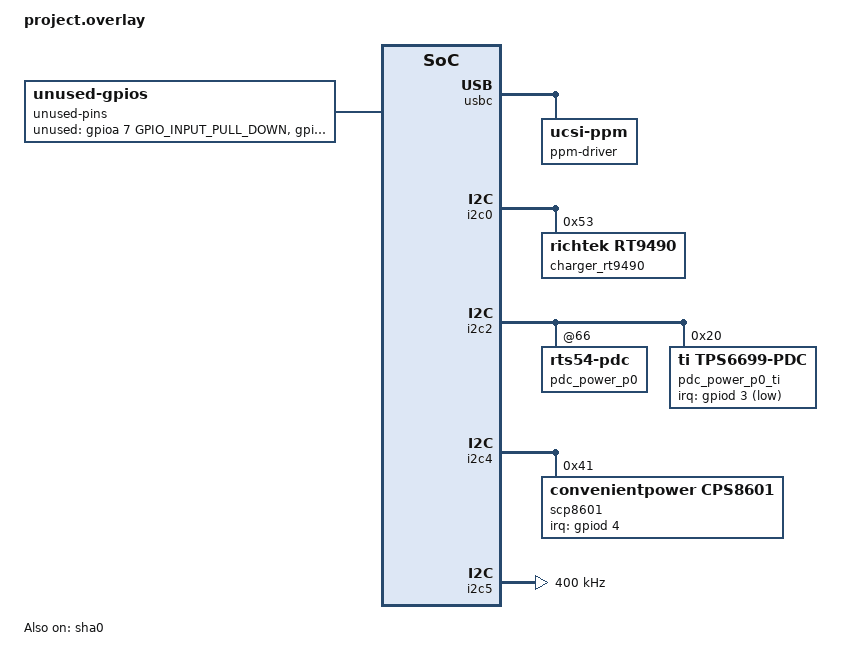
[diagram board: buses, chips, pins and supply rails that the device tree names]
/* Copyright 2025 The ChromiumOS Authors
 * Use of this source code is governed by a BSD-style license that can be
 * found in the LICENSE file.
 */

#include <cros/cbi_flash.dtsi>
#include "../ite_generated.dtsi"
#include "../interrupts.dtsi"
#include "../ite_common.dtsi"
#include "../ite_keyboard.dtsi"
#include "../ite_overlay.dtsi"
#include "../ite_usbc.dtsi"
#include "../power_signal.dtsi"
#include "cbi.dtsi"
#include "led_pins.dtsi"
#include "led_policy.dtsi"
#include "motionsense.dtsi"
#include "temp_sensor.dtsi"
#include "thermistor.dtsi"
#include "uart.dtsi"

/ {
	aliases {
		gpio-kbd-kso2 = &gpio_ec_kso_02_inv;
	};
	named-adc-channels {
		/delete-node/ charger_pmon_q;
		/delete-node/ temp_sensor1;
		/delete-node/ charger_amon_q;

		adc_type_c: charger_type_c {
			enum-name = "ADC_TEMP_SENSOR_2";
			io-channels = <&adc0 3>;
		};
		adc_charger: adc_charger {
			enum-name = "ADC_TEMP_SENSOR_1";
			io-channels = <&adc0 4>;
		};
		adc_usbc_sub_detect: usbc_sub_detect {
			enum-name = "ADC_EVB_CH_2";
			io-channels = <&adc0 0>;
		};
		adc-base-det {
			enum-name = "ADC_BASE_DET";
			io-channels = <&adc0 5>;
		};
	};

	batteries {
		default_battery: cosmx_cm32054 {
			compatible = "cosmx,cm32054", "battery-smart";
		};
		celxpert_b300049 {
			compatible = "celxpert,b300049","battery-smart";
		};
	};

	gpio-interrupts {
		/delete-node/ lid-accel;
		int_imu: ec-imu {
			irq-pin = <&gpio_imu_int_ec_l>;
			flags = <GPIO_INT_EDGE_FALLING>;
			handler = "motion_interrupt";
		};
		pogo_prsnt_int: pogo-prsnt-int {
			irq-pin = <&pogo_prsnt_int_l>;
			flags = <GPIO_INT_EDGE_BOTH>;
			handler = "base_detect_interrupt";
		};
		wpc_irq: wpc_irq{
			irq-pin = <&gpio_wpc_irq>;
			flags = <GPIO_INT_EDGE_FALLING>;
			handler = "pchg_irq";
		};
		wpc_lid_irq: wpc_lid_irq{
			irq-pin = <&gpio_pen_eject_od_l>;
			flags = <GPIO_INT_EDGE_BOTH>;
			handler = "wpc_hall_interrupt";
		};
	};

	named-gpios {
		/delete-node/ ec_i2c_pdc0_s_int_odl;
		/delete-node/ ec_i2c_pdc1_s_int_odl;
		/delete-node/ usb_c0_dp_hpd;
		/delete-node/ usb_c1_dp_hpd;
		/delete-node/ en_usb_c0_dev_mode;
		/delete-node/ en_pp5000_z1;
		/delete-node/ lid_accel_int_ec_l;
		/delete-node/ dp_aux_path_sel;
		/delete-node/ en_pp5000_usba_vbus;
		/delete-node/ ec_pen_chg_dis_odl;

		// POGO_PRSNT_INT_L  GPI5
		pogo_prsnt_int_l: pogo_prsnt_int_l{
			gpios = <&gpioi 5 (GPIO_INPUT| GPIO_ACTIVE_LOW)>;
		};

		// gpio_ap_ec_revd0 changed to ec_ap_hid_int_odl
		ec_ap_hid_int_odl: ec-ap-hid-int-odl {
			gpios = <&gpioi 6 (GPIO_ODR_HIGH | GPIO_VOLTAGE_1P8 |
					   GPIO_ACTIVE_LOW)>;
		};

		gpio_ap_ec_revd1: gpio_ap_ec_revd1{
			gpios = <&gpioi 7 GPIO_INPUT>;
		};

		gpio_ec_en_ppvar_blpwr: ec_en_ppvar_blpwr {
			gpios = <&gpioi 1 (GPIO_OUTPUT | GPIO_OUTPUT_INIT_LOW)>;
		};

		gpio_bl_pwr_pgd: gpio_bl_pwr_pgd {
			gpios = <&gpioh 3 GPIO_INPUT>;
		};

		gpio_5p0va_pwr_mode: 5p0va_pwr_mode {
			gpios = <&gpiod 5 (GPIO_OUTPUT | GPIO_OUTPUT_INIT_LOW)>;
		};

		gpio_pen_eject: pen_eject {
			gpios = <&gpioh 2 GPIO_INPUT>;
		};

		// EN_PP3300_BASE_X  GPF4
		en_pp3300_base_x: en_pp3300_base_x{
			gpios = <&gpiof 4 GPIO_OUTPUT_LOW>;
		};

		//PEN_EJECT_OD_L GPD1
		gpio_pen_eject_od_l: gpio_pen_eject_od_l {
			gpios = <&gpiod 1 (GPIO_INPUT)>;
			enum-name = "GPIO_HALL_CTL_PCHG";
		};

		//CCD_MODE_L GPE5
		gpio_ccd_mode_odl: ccd_mode_odl {
			gpios = <&gpioe 5 (GPIO_INPUT)>;
		};

		en_cc_lid_base_pu: en-cc-lid-base-pu {
			gpios = <&gpioa 3 GPIO_INPUT>;
		};
		gpio_wpc_irq: gpio_wpc_irq{
			gpios = <&gpiod 4 (GPIO_INPUT | GPIO_VOLTAGE_1P8)>;
			enum-name = "GPIO_WPC_IRQ";
		};

		gpio_ec_pen_dis: ec_pen_dis {
			gpios = <&gpiof 5 (GPIO_OUTPUT_HIGH)>;
			enum-name = "GPIO_QI_RESET_L";
		};
	};

	unused-pins {
		compatible = "unused-gpios";
		unused-gpios =
			<&gpioa 7 GPIO_INPUT_PULL_DOWN>,
			<&gpiob 6 GPIO_INPUT_PULL_DOWN>,
			<&gpiod 7 GPIO_INPUT>,
			<&gpiof 2 GPIO_INPUT_PULL_DOWN>,
			<&gpiog 0 GPIO_INPUT_PULL_DOWN>,
			<&gpiog 1 GPIO_INPUT_PULL_DOWN>,
			<&gpioh 1 GPIO_INPUT_PULL_DOWN>,
			<&gpioi 2 GPIO_INPUT_PULL_DOWN>,
			<&gpioj 2 GPIO_INPUT_PULL_DOWN>;
	};

	usbc {
		#address-cells = <1>;
		#size-cells = <0>;

		/delete-node/ port1@1;
		/delete-node/ port1-muxes;
		usbc_port0: port0@0 {
			compatible = "named-usbc-port";
			reg = <0>;
			chg = <&charger_rt9490>;
			pdc = <&pdc_power_p0 &pdc_power_p0_ti>;
			zephyr,deferred-init;
			policy = <&cros_policy>;
		};

		ppm-driver {
			compatible = "ucsi-ppm";
		};
	};

	named-i2c-ports {
		i2c_ec_i2c_pdc_s_scl_3v3: ec_i2c_pdc_s_scl_3v3 {
			remote-port = < 0x5 >;
		};
		i2c_detachable_base: detachable-base {
			i2c-port = <&i2c5>;
			enum-names = "I2C_PORT_DETACHABLE_BASE";
		};
	};
	cros-keyscan {
		compatible = "cros-ec,keyscan";
		actual-key-mask = <
			0x08	/* C0 */
			0xff	/* C1 */
			0xff	/* C2 */
			0xff	/* C3 */
			0xff	/* C4 */
			0xff	/* C5 */
			0xff	/* C6 */
			0xa4	/* C7 */
			0xff	/* C8 */
			0xf7	/* C9 */
			0x55	/* C10 */
			0xff	/* C11 */
			0xff	/* C12 */
			0x40	/* C13 */
			0x0a	/* C14 */
			0x40	/* C15 */
			0xff	/* C16 */
			0xff	/* C17 */
		>;
	};
};

&adc0{
	pinctrl-0 = <&adc0_ch5_gpi5_default>;
};

&pwm2 {
	status = "disabled";
};

&pwm3 {
	prescaler-cx = <PWM_PRESCALER_C4>;
};

&pinctrl {
	i2c4_clk_gpe0_default: i2c4_clk_gpe0_default {
		gpio-voltage = "1v8";
	};
	i2c4_data_gpe7_default: i2c4_data_gpe7_default {
		gpio-voltage = "1v8";
	};
	i2c5_clk_gpe1_default: i2c5_clk_gpe1_default {
		gpio-voltage = "1v8";
	};
	i2c5_data_gpe2_default: i2c5_data_gpe2_default {
		gpio-voltage = "1v8";
	};
	uart2_rx_gpf0_default {
		pinmuxs = <&pinctrlf 0 IT8XXX2_ALT_FUNC_3>;
	};
	uart2_tx_gpf1_default {
		pinmuxs = <&pinctrlf 1 IT8XXX2_ALT_FUNC_3>;
	};
};

&i2c0 {
	/delete-node/ bq25720@9;
	charger_rt9490: rt9490@53{
		compatible = "richtek,rt9490";
		thermistor = <&thermistor_rt9490>;
		reg = <0x53>;
		eoc-current = <120>;
		/delete-property/ irq;
	};
	data-hold-time = <10>;
};

&i2c2 {
	/delete-node/ rts54-pdc@67;

	pdc_power_p0: rts54-pdc@66 {
		zephyr,deferred-init;
	};
	pdc_power_p0_ti: tps6699-pdc@20 {
		compatible = "ti,tps6699-pdc";
		reg = <0x20>;
		irq-gpios = <&gpiod 3 GPIO_ACTIVE_LOW>;
		port-index-on-chip = <0x1>;
		zephyr,deferred-init;
		frs-supported;
		ccd;
	};
};

&i2c4 {
	scp8601@41 {
		compatible = "convenientpower,cps8601";
		reg = <0x41>;
		irq-gpios=<&gpiod 4 (GPIO_INPUT | GPIO_VOLTAGE_1P8)>;
	};
};

&i2c5 {
	/delete-node/ ps8747-mux-1@10;
	/delete-node/ tusb546-mux-0@44;
	label = "I2C_DETACHABLE_BASE";
	status = "okay";
	clock-frequency = <I2C_BITRATE_FAST>;
	pinctrl-0 = <&i2c5_clk_gpe1_default
		     &i2c5_data_gpe2_default>;
	pinctrl-names = "default";
	prescale-scl-low = <1>;

	target-enable;
	hid_i2c_target: hid-i2c-target@56 {
		compatible = "cros-ec,hid-i2c-touchpad";

		reg = <0x56>;
		max-pressure = <255>;
		logical-max-x = <3216>;
		logical-max-y = <1844>;
		physical-max-x = <1020>;
		physical-max-y = <585>;

		/* TODO(b/301380459): allocate pid */
		vid = <0x18d1>;
		pid = <0x507a>;

		/* Zephyr preferred style for specifying ec_ap_hid_int_odl */
		irq-gpios = <&gpioi 6 (GPIO_OPEN_DRAIN | GPIO_VOLTAGE_1P8 |
			     GPIO_ACTIVE_LOW)>;
	};
};

&sha0 {
	status = "okay";
};

/*
 * When CBI in flash is enabled, setup RO flash layout as follows:
 *   RO binary:    0x00000:0x5DFFF
 *   FMAP:         0x5DC00:0x5DFFF
 *   CBI flash:    0x5E000:0x5EFFF
 *   PSTATE block: 0x5F000:0x5FFFF
 */
&binman {
	wp-ro {
		/*
		 * Delete the pstate node so that we can force it to be the
		 * last sub-section. binman doesn't handle sub-sections with
		 * out of order offsets.
		 */
		 /delete-node/ pstate;

		 ec-ro {
			fmap {
				offset =  <(0x60000 - (0x1000 * 2) - 0x400)>;
				/*
				* don't specify 'size = <0x400>' here so
				* it is auto-assigned to the fmap size.
				*/
			};
		};
		cbi {
			offset = <(0x60000 - (0x1000 * 2))>;
			size = <0x1000>;
		};
		pstate {
			type = "section";
			offset = <(0x60000 - (0x1000 * 1))>;
			size = <0x1000>;
		};
	};
};
